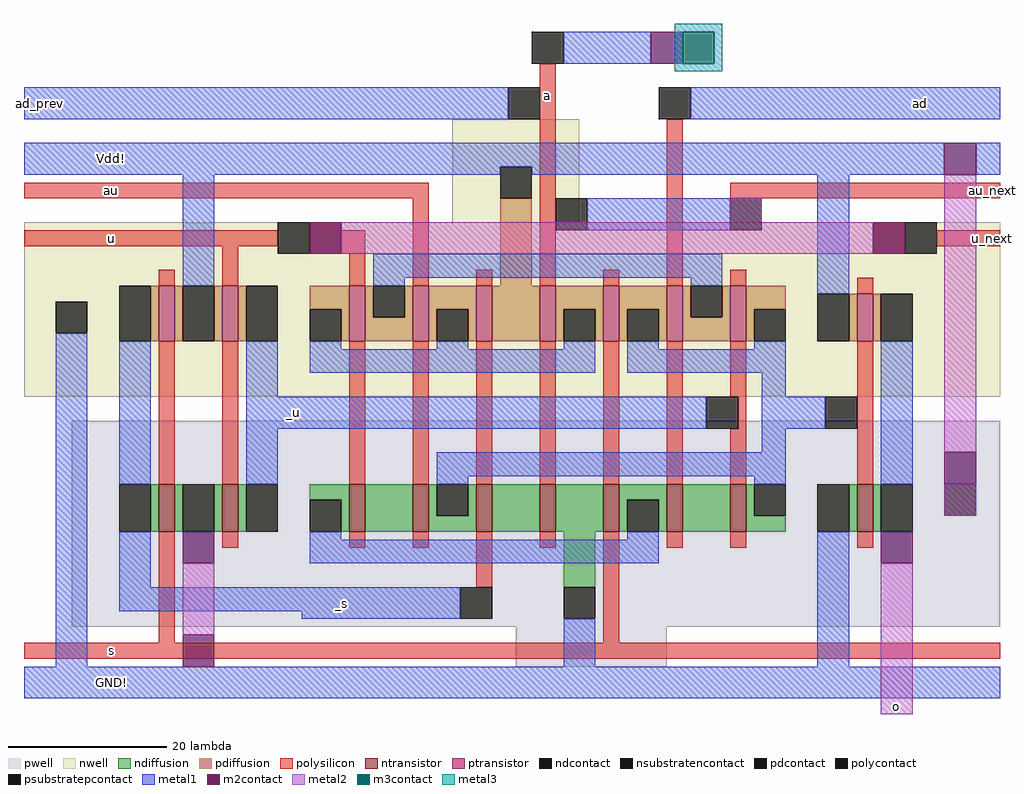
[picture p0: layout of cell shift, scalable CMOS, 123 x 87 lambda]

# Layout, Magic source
magic
tech scmos
<< nwell >>
rect 18 18 34 31
rect -36 -4 87 18
<< pwell >>
rect -30 -33 87 -7
rect 26 -38 45 -33
<< ntransistor >>
rect -19 -21 -17 -15
rect -11 -21 -9 -15
rect 5 -21 7 -15
rect 13 -21 15 -15
rect 21 -21 23 -15
rect 29 -21 31 -15
rect 37 -21 39 -15
rect 45 -21 47 -15
rect 53 -21 55 -15
rect 69 -21 71 -15
<< ptransistor >>
rect -19 3 -17 10
rect -11 3 -9 10
rect 5 3 7 10
rect 13 3 15 10
rect 21 3 23 10
rect 29 3 31 10
rect 37 3 39 10
rect 45 3 47 10
rect 53 3 55 10
rect 69 3 71 9
<< ndiffusion >>
rect -20 -21 -19 -15
rect -17 -21 -16 -15
rect -12 -21 -11 -15
rect -9 -21 -8 -15
rect 0 -17 5 -15
rect 4 -21 5 -17
rect 7 -21 13 -15
rect 15 -19 16 -15
rect 20 -19 21 -15
rect 15 -21 21 -19
rect 23 -21 29 -15
rect 31 -21 37 -15
rect 39 -17 45 -15
rect 39 -21 40 -17
rect 44 -21 45 -17
rect 47 -21 53 -15
rect 55 -19 56 -15
rect 55 -21 60 -19
rect 68 -21 69 -15
rect 71 -21 72 -15
rect 32 -28 36 -21
<< pdiffusion >>
rect 24 10 28 21
rect -20 3 -19 10
rect -17 3 -16 10
rect -12 3 -11 10
rect -9 3 -8 10
rect 0 7 5 10
rect 4 3 5 7
rect 7 6 8 10
rect 12 6 13 10
rect 7 3 13 6
rect 15 7 21 10
rect 15 3 16 7
rect 20 3 21 7
rect 23 3 29 10
rect 31 7 37 10
rect 31 3 32 7
rect 36 3 37 7
rect 39 7 45 10
rect 39 3 40 7
rect 44 3 45 7
rect 47 6 48 10
rect 52 6 53 10
rect 47 3 53 6
rect 55 7 60 10
rect 55 3 56 7
rect 68 3 69 9
rect 71 3 72 9
<< ndcontact >>
rect -24 -21 -20 -15
rect -16 -21 -12 -15
rect -8 -21 -4 -15
rect 0 -21 4 -17
rect 16 -19 20 -15
rect 40 -21 44 -17
rect 56 -19 60 -15
rect 64 -21 68 -15
rect 72 -21 76 -15
rect 32 -32 36 -28
<< pdcontact >>
rect 24 21 28 25
rect -24 3 -20 10
rect -16 3 -12 10
rect -8 3 -4 10
rect 0 3 4 7
rect 8 6 12 10
rect 16 3 20 7
rect 32 3 36 7
rect 40 3 44 7
rect 48 6 52 10
rect 56 3 60 7
rect 64 3 68 9
rect 72 3 76 9
<< psubstratepcontact >>
rect 80 -19 84 -15
<< nsubstratencontact >>
rect -32 4 -28 8
<< polysilicon >>
rect -36 21 15 23
rect -36 15 -4 17
rect -19 10 -17 12
rect -11 10 -9 15
rect 0 17 4 18
rect 0 14 7 17
rect 5 10 7 14
rect 13 10 15 21
rect 21 10 23 12
rect 29 10 31 38
rect 37 10 39 12
rect 45 10 47 31
rect 53 21 87 23
rect 71 14 75 18
rect 79 15 87 17
rect 53 10 55 12
rect 69 9 71 11
rect -19 -15 -17 3
rect -11 -15 -9 3
rect 5 -15 7 3
rect 13 -15 15 3
rect 21 -15 23 3
rect 29 -15 31 3
rect 37 -15 39 3
rect 45 -15 47 3
rect 53 -4 55 3
rect 54 -8 55 -4
rect 53 -15 55 -8
rect 69 -15 71 3
rect -19 -35 -17 -21
rect -11 -23 -9 -21
rect 5 -23 7 -21
rect 13 -23 15 -21
rect 21 -28 23 -21
rect 29 -23 31 -21
rect 37 -35 39 -21
rect 45 -23 47 -21
rect 53 -23 55 -21
rect 69 -23 71 -21
rect -36 -37 87 -35
<< polycontact >>
rect 28 38 32 42
rect 25 31 29 35
rect -4 14 0 18
rect 44 31 48 35
rect 31 17 35 21
rect 53 17 57 21
rect 75 14 79 18
rect 50 -8 54 -4
rect 65 -8 69 -4
rect 19 -32 23 -28
<< metal1 >>
rect 32 38 43 42
rect -36 31 25 35
rect 48 31 87 35
rect -36 25 80 28
rect -36 24 24 25
rect -16 10 -12 24
rect 28 24 80 25
rect 84 24 87 28
rect 35 17 53 21
rect 8 11 52 14
rect 8 10 12 11
rect -32 -38 -28 4
rect -24 -15 -20 3
rect -8 -4 -4 3
rect 48 10 52 11
rect 0 2 4 3
rect 16 2 20 3
rect 32 2 36 3
rect 0 -1 36 2
rect 64 9 68 24
rect 40 2 44 3
rect 56 2 60 3
rect 40 -1 60 2
rect 57 -4 60 -1
rect -8 -8 50 -4
rect 57 -8 65 -4
rect -8 -15 -4 -8
rect 57 -11 60 -8
rect -24 -28 -20 -21
rect 16 -14 60 -11
rect 16 -15 20 -14
rect 56 -15 60 -14
rect 72 -15 76 3
rect 0 -22 4 -21
rect 40 -22 44 -21
rect 0 -25 44 -22
rect -24 -31 19 -28
rect -1 -32 19 -31
rect 32 -38 36 -32
rect 64 -38 68 -21
rect -36 -42 87 -38
<< m2contact >>
rect 43 38 47 42
rect 80 24 84 28
rect 0 14 4 18
rect 71 14 75 18
rect -16 -25 -12 -21
rect -16 -38 -12 -34
rect 80 -15 84 -11
rect 72 -25 76 -21
<< metal2 >>
rect 53 18 57 21
rect 4 14 71 18
rect 80 -11 84 24
rect 80 -19 84 -15
rect -16 -34 -12 -25
rect 72 -44 76 -25
<< m3contact >>
rect 47 38 51 42
<< metal3 >>
rect 46 42 52 43
rect 46 38 47 42
rect 51 38 52 42
rect 46 37 52 38
<< labels >>
rlabel polysilicon -25 -36 -25 -36 2 s
rlabel polysilicon -25 16 -25 16 3 u
rlabel polysilicon 30 34 30 34 5 a
rlabel metal1 -25 -40 -25 -40 2 GND!
rlabel metal1 -25 26 -25 26 3 Vdd!
rlabel metal2 74 -43 74 -43 8 o
rlabel metal1 4 -30 4 -30 1 _s
rlabel metal1 -2 -6 -2 -6 1 _u
rlabel polysilicon -25 22 -25 22 3 au
rlabel metal1 77 33 77 33 6 ad
rlabel metal1 -36 31 -32 35 3 ad_prev
rlabel polysilicon 85 21 87 23 7 au_next
rlabel polysilicon 85 15 87 17 7 u_next
<< end >>
